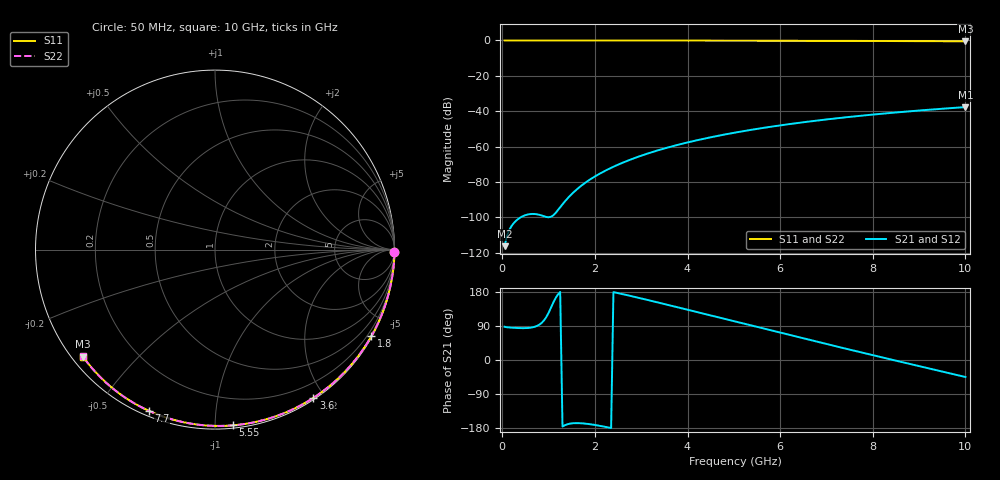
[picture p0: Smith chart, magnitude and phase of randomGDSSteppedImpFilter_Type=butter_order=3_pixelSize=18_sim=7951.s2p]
! freq	dB(S11)	phase(S11)	dB(S12)	phase(S12)
!  dB(S21)	phase(S21)	dB(S22)	phase(S22)
!S-par simulation data
#  GHz  S  DB  R 50
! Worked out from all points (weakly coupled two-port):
!   200 points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, 50 MHz to 10 GHz, reference 50 ohm
!   highest |S21| = -37.65 dB at 10 GHz (marker M1); lowest = -116.2 dB at 50 MHz (marker M2)
!   lowest |S11| = -0.5 dB at 10 GHz (marker M3), VSWR 36.50, Z = 1.54 - j17.7 ohm
!   |S11| at or under -10 dB: nowhere
!   |S22| runs from -0.5 to 0.0 dB; largest |S21 - S12| = 0
!   S11 on the Smith chart (normalised r, x): 50 MHz: open; 1.8 GHz: 0.03, -3.88; 3.6 GHz: 0.02, -1.86; 5.55 GHz: 0.02, -1.11; 7.7 GHz: 0.02, -0.67; 10 GHz: 0.03, -0.35
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0.05  -0.00 -0.8  -116.22 87.6  -116.22 87.6  -0.00 -0.8
0.45  -0.01 -7.3  -99.20 84.1  -99.20 84.1  -0.01 -7.3
0.9  -0.02 -14.6  -99.32 104.4  -99.32 104.4  -0.02 -14.6
1.3  -0.03 -21.0  -92.56 -175.6  -92.56 -175.6  -0.03 -21.0
1.75  -0.04 -28.1  -81.18 -167.4  -81.18 -167.4  -0.04 -28.2
1.8  -0.04 -28.9  -80.23 -168.0  -80.23 -168.0  -0.04 -28.9
2.05  -0.04 -32.8  -76.06 -172.5  -76.06 -172.5  -0.04 -32.9
2.2  -0.04 -35.2  -73.92 -175.8  -73.92 -175.8  -0.04 -35.2
2.55  -0.05 -40.6  -69.60 175.2  -69.60 175.2  -0.05 -40.6
2.95  -0.06 -46.7  -65.56 163.9  -65.56 163.9  -0.06 -46.7
3.4  -0.07 -53.5  -61.78 150.7  -61.78 150.7  -0.07 -53.5
3.6  -0.08 -56.4  -60.29 144.7  -60.29 144.7  -0.08 -56.5
3.9  -0.08 -60.8  -58.25 135.7  -58.25 135.7  -0.08 -60.9
4.3  -0.09 -66.6  -55.82 123.5  -55.82 123.5  -0.09 -66.7
5.05  -0.12 -77.3  -51.94 100.7  -51.94 100.7  -0.12 -77.3
5.55  -0.14 -84.2  -49.75 85.6  -49.75 85.6  -0.14 -84.2
6.1  -0.16 -91.6  -47.61 69.0  -47.61 69.0  -0.16 -91.7
6.7  -0.19 -99.5  -45.56 51.1  -45.56 51.1  -0.19 -99.6
7.7  -0.26 -112.3  -42.65 21.5  -42.65 21.5  -0.26 -112.4
8.35  -0.31 -120.5  -41.03 2.6  -41.03 2.6  -0.31 -120.6
9.2  -0.39 -131.0  -39.17 -21.9  -39.17 -21.9  -0.39 -131.2
10  -0.48 -140.9  -37.65 -44.9  -37.65 -44.9  -0.47 -141.2
